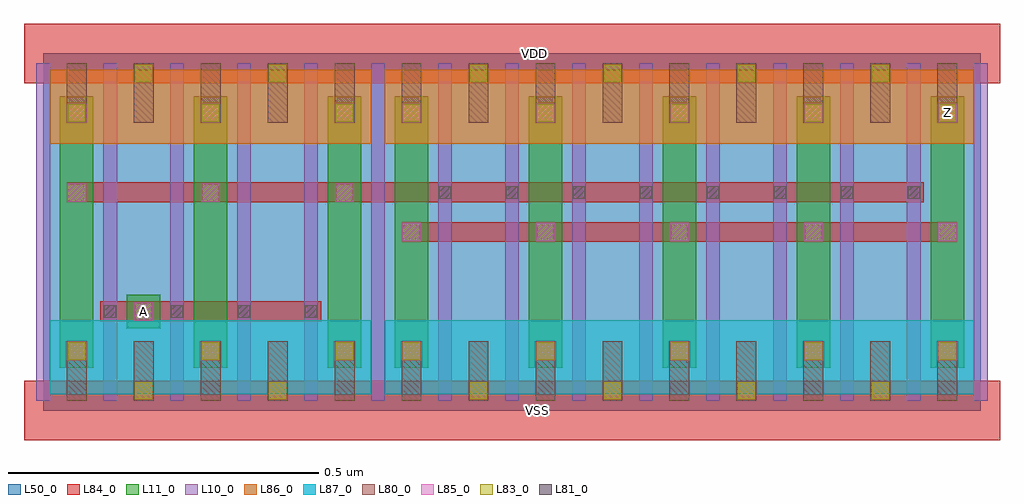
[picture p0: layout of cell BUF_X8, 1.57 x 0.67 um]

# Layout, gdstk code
import gdstk
lib = gdstk.Library(unit=1e-6, precision=1e-09)
def R(c, l, rs):  # rectangles x0, y0, x1, y1
    for r in rs: c.add(gdstk.rectangle(r[:2], r[2:], *l))
def A(c, l, x, y, w, h, nx, ny, dx, dy):  # array of equal rectangles
    R(c, l, [(x+i*dx, y+j*dy, x+i*dx+w, y+j*dy+h) for i in range(nx) for j in range(ny)])
L10_0 = (10, 0)
L11_0 = (11, 0)
L50_0 = (50, 0)
L80_0 = (80, 0)
L81_0 = (81, 0)
L83_0 = (83, 0)
L84_0 = (84, 0)
L85_0 = (85, 0)
L86_0 = (86, 0)
L87_0 = (87, 0)

buf_x8 = lib.new_cell('BUF_X8')
A(buf_x8, L10_0, -0.011, 0.016, 0.022, 0.544, 6, 1, 0.108, 0)
A(buf_x8, L10_0, 0.529, 0.016, 0.022, 0.544, 5, 1, 0.108, 0)
A(buf_x8, L10_0, 1.069, 0.016, 0.022, 0.544, 5, 1, 0.108, 0)
R(buf_x8, L10_0, [(0.961,0.016,0.983,0.56), (1.069,0.016,1.091,0.56)])
A(buf_x8, L11_0, 0.027, 0.069, 0.054, 0.438, 3, 1, 0.216, 0)
A(buf_x8, L11_0, 0.567, 0.069, 0.054, 0.438, 3, 1, 0.216, 0)
A(buf_x8, L11_0, 0.999, 0.069, 0.054, 0.438, 3, 1, 0.216, 0)
R(buf_x8, L11_0, [(0.135,0.133,0.189,0.187)])
R(buf_x8, L50_0, [(0,0,1.512,0.576)])
A(buf_x8, L80_0, 0.038, 0.016, 0.032, 0.096, 10, 2, 0.108, 0.448)
A(buf_x8, L80_0, 1.01, 0.016, 0.032, 0.096, 5, 2, 0.108, 0.448)
A(buf_x8, L81_0, 0.098, 0.15, 0.02, 0.02, 4, 1, 0.108, 0)
A(buf_x8, L81_0, 0.638, 0.342, 0.02, 0.02, 8, 1, 0.108, 0)
A(buf_x8, L83_0, 0.688, 0.018, 0.028, 0.028, 4, 2, 0.216, 0.512)
A(buf_x8, L83_0, 0.04, 0.082, 0.028, 0.028, 3, 2, 0.216, 0.384)
A(buf_x8, L83_0, 0.58, 0.082, 0.028, 0.028, 3, 2, 0.216, 0.384)
A(buf_x8, L83_0, 1.012, 0.082, 0.028, 0.028, 3, 2, 0.216, 0.384)
R(buf_x8, L83_0, [(0.148,0.018,0.176,0.046), (0.364,0.018,0.392,0.046), (0.148,0.53,0.176,0.558), (0.364,0.53,0.392,0.558)])
A(buf_x8, L84_0, 0.038, 0.08, 0.032, 0.032, 3, 2, 0.216, 0.384)
A(buf_x8, L84_0, 0.578, 0.08, 0.032, 0.032, 3, 2, 0.216, 0.384)
A(buf_x8, L84_0, 1.01, 0.08, 0.032, 0.032, 3, 2, 0.216, 0.384)
R(buf_x8, L84_0, [(-0.031,-0.048,0.571,0.048), (0.509,-0.048,1.111,0.048), (0.941,-0.048,1.543,0.048), (0.092,0.144,0.448,0.176), (0.578,0.272,1.042,0.304), (1.01,0.272,1.474,0.304), (0.038,0.336,0.502,0.368), (0.464,0.336,1.097,0.368), (1.064,0.336,1.42,0.368), (-0.031,0.528,0.571,0.624), (0.509,0.528,1.111,0.624), (0.941,0.528,1.543,0.624)])
A(buf_x8, L85_0, 0.039, 0.081, 0.03, 0.03, 3, 2, 0.216, 0.256)
A(buf_x8, L85_0, 0.579, 0.081, 0.03, 0.03, 3, 3, 0.216, 0.192)
A(buf_x8, L85_0, 1.011, 0.081, 0.03, 0.03, 3, 3, 0.216, 0.192)
A(buf_x8, L85_0, 0.039, 0.465, 0.03, 0.03, 3, 1, 0.216, 0)
R(buf_x8, L85_0, [(0.147,0.145,0.177,0.175)])
R(buf_x8, L86_0, [(0.011,0.43,0.529,0.55), (0.551,0.43,1.069,0.55), (0.983,0.43,1.501,0.55)])
R(buf_x8, L87_0, [(0.011,0.026,0.529,0.146), (0.551,0.026,1.069,0.146), (0.983,0.026,1.501,0.146)])
buf_x8.add(gdstk.Label('VSS', (0.797,0), layer=88, texttype=0))
buf_x8.add(gdstk.Label('VDD', (0.792,0.576), layer=88, texttype=0))
buf_x8.add(gdstk.Label('A', (0.162,0.16), layer=31, texttype=0))
buf_x8.add(gdstk.Label('Z', (1.458,0.48), layer=31, texttype=0))

lib.write_gds('BUF_X8.gds')
